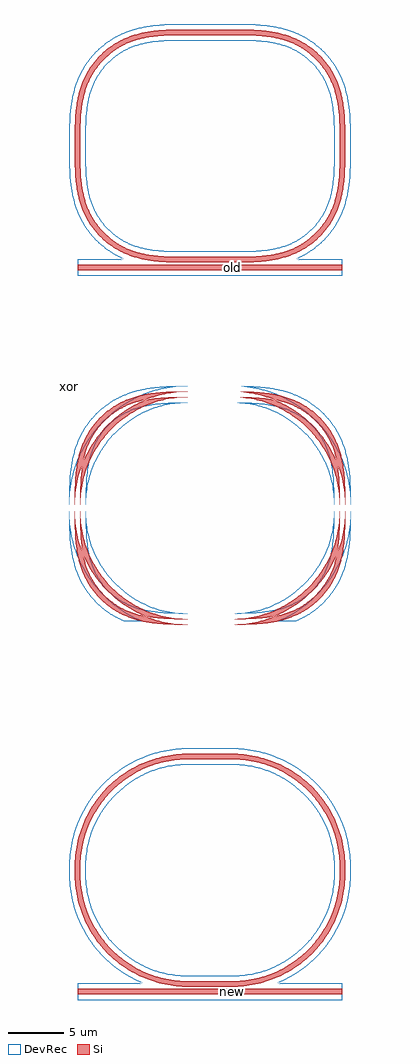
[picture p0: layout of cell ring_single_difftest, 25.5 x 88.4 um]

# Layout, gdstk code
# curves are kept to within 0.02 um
from math import pi, radians
import gdstk
lib = gdstk.Library(unit=1e-6, precision=1e-09)
def R(c, l, rs):  # rectangles x0, y0, x1, y1
    for r in rs: c.add(gdstk.rectangle(r[:2], r[2:], *l))
def P(c, l, *ps):  # polygons
    for p in ps: c.add(gdstk.Polygon(p, *l))
Si = (1, 0)
DevRec = (68, 0)

bend_euler_r10_a90_p0p5_ = lib.new_cell('bend_euler_R10_A90_P0p5_17151b03')
P(bend_euler_r10_a90_p0p5_, Si, [(0,-0.25),(0,0.25),(1.655,0.269),(2.881,0.353),(3.952,0.52),(4.99,0.806),(5.731,1.113),(6.431,1.505),(7.079,1.976),(7.575,2.425),(8.024,2.921),(8.495,3.569),(8.887,4.269),(9.194,5.01),(9.48,6.048),(9.647,7.119),(9.731,8.345),(9.75,10),(10.25,10),(10.235,8.468),(10.158,7.205),(10.023,6.224),(9.797,5.254),(9.457,4.312),(9.066,3.545),(8.5,2.715),(7.928,2.072),(7.285,1.5),(6.455,0.934),(5.688,0.543),(4.746,0.203),(3.776,-0.023),(2.795,-0.158),(1.532,-0.235)])
P(bend_euler_r10_a90_p0p5_, DevRec, [(0,-0.75),(0,0.75),(1.637,0.769),(2.697,0.837),(3.724,0.984),(4.466,1.163),(5.288,1.459),(5.95,1.797),(6.666,2.285),(7.221,2.779),(7.715,3.334),(8.203,4.05),(8.541,4.712),(8.837,5.534),(9.016,6.276),(9.163,7.303),(9.231,8.363),(9.25,10),(10.75,10),(10.735,8.453),(10.656,7.156),(10.488,5.989),(10.277,5.114),(9.915,4.111),(9.497,3.292),(8.893,2.406),(8.282,1.718),(7.594,1.107),(6.708,0.503),(5.889,0.085),(4.886,-0.277),(4.011,-0.488),(2.844,-0.656),(1.547,-0.735)])

coupler_ring_lx4_g0p2_r_ = lib.new_cell('coupler_ring_LX4_G0p2_R_bc79a2ed')
R(coupler_ring_lx4_g0p2_r_, Si, [(-14,-0.25,10,0.25)])
P(coupler_ring_lx4_g0p2_r_, Si, [(-4.416,0.45),(-5.812,0.475),(-6.935,0.556),(-7.915,0.703),(-8.883,0.944),(-9.819,1.302),(-10.579,1.708),(-11.397,2.29),(-12.029,2.874),(-12.588,3.529),(-13.137,4.369),(-13.567,5.277),(-13.836,6.091),(-14.048,7.064),(-14.171,8.046),(-14.235,9.168),(-14.25,10.7),(-13.75,10.7),(-13.731,9.045),(-13.647,7.819),(-13.48,6.748),(-13.194,5.71),(-12.887,4.969),(-12.495,4.269),(-12.024,3.621),(-11.575,3.125),(-10.869,2.511),(-10.203,2.065),(-9.488,1.701),(-8.735,1.422),(-7.952,1.22),(-6.881,1.053),(-5.655,0.969),(-4.415,0.95),(1.243,0.958),(2.202,0.996),(3.016,1.069),(4.084,1.249),(4.99,1.506),(5.731,1.813),(6.543,2.278),(7.283,2.85),(7.938,3.518),(8.495,4.269),(8.765,4.731),(8.999,5.212),(9.353,6.223),(9.596,7.415),(9.719,8.772),(9.75,10.7),(10.25,10.7),(10.225,8.888),(10.128,7.625),(9.939,6.506),(9.618,5.411),(9.398,4.881),(9.137,4.369),(8.837,3.88),(8.5,3.415),(7.826,2.671),(7.397,2.29),(6.939,1.944),(6.078,1.427),(5.289,1.082),(4.332,0.793),(3.216,0.59),(2.373,0.506),(1.253,0.458)])
P(coupler_ring_lx4_g0p2_r_, DevRec, [(-14,-0.75),(-14,0.75),(-9.807,0.75),(-10.441,1.053),(-10.97,1.363),(-11.594,1.807),(-12.061,2.206),(-12.494,2.639),(-12.986,3.227),(-13.419,3.86),(-13.718,4.395),(-13.975,4.952),(-14.233,5.669),(-14.393,6.251),(-14.541,6.981),(-14.641,7.711),(-14.711,8.58),(-14.75,10.7),(-13.25,10.7),(-13.231,9.063),(-13.163,8.003),(-13.016,6.976),(-12.8,6.113),(-12.49,5.299),(-12.074,4.539),(-11.557,3.843),(-10.951,3.224),(-10.367,2.764),(-9.734,2.376),(-9.059,2.065),(-8.344,1.829),(-7.598,1.661),(-6.697,1.537),(-5.771,1.474),(-4.414,1.45),(0.825,1.452),(1.904,1.48),(2.697,1.537),(3.724,1.684),(4.466,1.863),(5.288,2.159),(6.056,2.56),(6.568,2.91),(6.951,3.224),(7.637,3.938),(8.203,4.75),(8.635,5.641),(8.934,6.601),(9.135,7.743),(9.226,8.929),(9.25,10.7),(10.75,10.7),(10.711,8.58),(10.641,7.711),(10.541,6.981),(10.393,6.251),(10.233,5.669),(9.975,4.952),(9.718,4.395),(9.419,3.86),(8.986,3.227),(8.494,2.639),(8.061,2.206),(7.594,1.807),(6.97,1.363),(6.441,1.053),(5.807,0.75),(10,0.75),(10,-0.75)])

straight_l0p6_csstrip_wn = lib.new_cell('straight_L0p6_CSstrip_WNone_N2$1')
R(straight_l0p6_csstrip_wn, Si, [(0,-0.25,0.6,0.25)])
R(straight_l0p6_csstrip_wn, DevRec, [(0,-0.75,0.6,0.75)])

straight_l4_csstrip_wnon = lib.new_cell('straight_L4_CSstrip_WNone_N2$1')
R(straight_l4_csstrip_wnon, Si, [(0,-0.25,4,0.25)])
R(straight_l4_csstrip_wnon, DevRec, [(0,-0.75,4,0.75)])

ring_single_old = lib.new_cell('ring_single_old')
ring_single_old.add(gdstk.Reference(bend_euler_r10_a90_p0p5_, (10,11.3), rotation=pi/2))
ring_single_old.add(gdstk.Reference(bend_euler_r10_a90_p0p5_, (-4,21.3), rotation=pi))
ring_single_old.add(gdstk.Reference(coupler_ring_lx4_g0p2_r_, (0,0)))
ring_single_old.add(gdstk.Reference(straight_l0p6_csstrip_wn, (-14,10.7), rotation=pi/2))
ring_single_old.add(gdstk.Reference(straight_l0p6_csstrip_wn, (10,11.3), rotation=3*pi/2))
ring_single_old.add(gdstk.Reference(straight_l4_csstrip_wnon, (0,21.3), rotation=pi))

bend_euler_r10_a90_p0_wn = lib.new_cell('bend_euler_R10_A90_P0_WNone_CSstrip_AMRVFalse$1')
P(bend_euler_r10_a90_p0_wn, Si, [(0,-0.25),(0,0.25),(1.003,0.302),(1.994,0.456),(3.203,0.791),(4.133,1.169),(5.019,1.641),(5.649,2.053),(6.246,2.513),(6.805,3.018),(7.487,3.754),(7.947,4.351),(8.359,4.981),(8.721,5.641),(9.209,6.797),(9.489,7.761),(9.669,8.748),(9.75,10),(10.25,10),(10.196,8.946),(10.084,8.162),(9.842,7.135),(9.495,6.139),(9.169,5.417),(8.649,4.499),(8.037,3.639),(7.341,2.846),(6.566,2.129),(5.722,1.496),(4.817,0.953),(3.861,0.505),(2.865,0.158),(1.838,-0.084),(1.054,-0.196)])
P(bend_euler_r10_a90_p0_wn, DevRec, [(0,-0.75),(0,0.75),(0.951,0.799),(1.658,0.9),(2.585,1.119),(3.485,1.432),(4.136,1.726),(4.964,2.195),(5.741,2.747),(6.456,3.376),(6.948,3.894),(7.539,4.64),(8.05,5.444),(8.476,6.296),(8.812,7.187),(9.054,8.108),(9.201,9.049),(9.25,10),(10.75,10),(10.693,8.895),(10.523,7.801),(10.322,6.996),(9.958,5.95),(9.616,5.194),(9.071,4.23),(8.429,3.328),(7.699,2.497),(6.886,1.745),(6.001,1.081),(5.052,0.511),(4.05,0.042),(3.004,-0.322),(2.199,-0.523),(1.105,-0.693)])

coupler_ring_lx4_g0p2_r1 = lib.new_cell('coupler_ring_LX4_G0p2_R10_Bbend_euler_R10_A90_P0_WNone__88a3ef29')
R(coupler_ring_lx4_g0p2_r1, Si, [(-14,-0.25,10,0.25)])
P(coupler_ring_lx4_g0p2_r1, Si, [(-4,0.45),(-5.054,0.504),(-5.838,0.616),(-6.865,0.858),(-7.861,1.205),(-8.583,1.531),(-9.501,2.051),(-10.361,2.663),(-11.154,3.359),(-11.871,4.134),(-12.504,4.978),(-13.047,5.883),(-13.495,6.839),(-13.842,7.835),(-14.084,8.862),(-14.196,9.646),(-14.25,10.7),(-13.75,10.7),(-13.669,9.448),(-13.489,8.461),(-13.209,7.497),(-12.721,6.341),(-12.359,5.681),(-11.947,5.051),(-11.487,4.454),(-10.805,3.718),(-10.051,3.055),(-9.233,2.473),(-8.582,2.094),(-7.673,1.668),(-6.965,1.412),(-5.994,1.156),(-5.003,1.002),(-4,0.95),(0.251,0.953),(1.003,1.002),(1.748,1.108),(2.725,1.339),(3.673,1.668),(4.582,2.094),(5.443,2.611),(6.246,3.213),(7.155,4.077),(7.798,4.848),(8.359,5.681),(8.721,6.341),(9.032,7.027),(9.429,8.217),(9.669,9.448),(9.75,10.7),(10.25,10.7),(10.196,9.646),(10.084,8.862),(9.976,8.346),(9.681,7.332),(9.495,6.839),(9.169,6.117),(8.787,5.423),(8.504,4.978),(7.699,3.933),(7.341,3.546),(6.767,3.001),(5.939,2.346),(5.049,1.78),(4.583,1.531),(3.861,1.205),(2.865,0.858),(1.838,0.616),(1.054,0.504),(0.264,0.453)])
P(coupler_ring_lx4_g0p2_r1, DevRec, [(-14,-0.75),(-14,0.75),(-8.069,0.75),(-8.806,1.084),(-9.534,1.484),(-10.229,1.938),(-10.886,2.445),(-11.503,3.001),(-12.075,3.603),(-12.429,4.028),(-12.919,4.699),(-13.356,5.405),(-13.736,6.143),(-14.059,6.908),(-14.322,7.696),(-14.463,8.231),(-14.622,9.046),(-14.718,9.87),(-14.75,10.7),(-13.25,10.7),(-13.201,9.749),(-13.003,8.575),(-12.736,7.661),(-12.378,6.779),(-11.93,5.938),(-11.398,5.148),(-10.788,4.417),(-10.106,3.752),(-9.36,3.161),(-8.762,2.77),(-7.921,2.322),(-7.263,2.045),(-6.356,1.755),(-5.658,1.6),(-4.951,1.499),(-4,1.45),(0.238,1.453),(1.423,1.56),(2.356,1.755),(3.263,2.045),(4.136,2.426),(4.964,2.895),(5.925,3.597),(6.788,4.417),(7.539,5.34),(8.165,6.353),(8.655,7.437),(9.003,8.575),(9.201,9.749),(9.25,10.7),(10.75,10.7),(10.718,9.87),(10.622,9.046),(10.523,8.501),(10.322,7.696),(10.059,6.908),(9.736,6.143),(9.356,5.405),(8.919,4.699),(8.429,4.028),(8.075,3.603),(7.503,3.001),(6.886,2.445),(6.229,1.938),(5.534,1.484),(4.806,1.084),(4.069,0.75),(10,0.75),(10,-0.75)])

c_straight_l4_csstrip_wnon = lib.new_cell('straight_L4_CSstrip_WNone_N2$2')
R(c_straight_l4_csstrip_wnon, Si, [(0,-0.25,4,0.25)])
R(c_straight_l4_csstrip_wnon, DevRec, [(0,-0.75,4,0.75)])

c_straight_l0p6_csstrip_wn = lib.new_cell('straight_L0p6_CSstrip_WNone_N2$2')
R(c_straight_l0p6_csstrip_wn, Si, [(0,-0.25,0.6,0.25)])
R(c_straight_l0p6_csstrip_wn, DevRec, [(0,-0.75,0.6,0.75)])

ring_single_new = lib.new_cell('ring_single_new')
ring_single_new.add(gdstk.Reference(bend_euler_r10_a90_p0_wn, (10,11.3), rotation=pi/2))
ring_single_new.add(gdstk.Reference(bend_euler_r10_a90_p0_wn, (-4,21.3), rotation=pi))
ring_single_new.add(gdstk.Reference(coupler_ring_lx4_g0p2_r1, (0,0)))
ring_single_new.add(gdstk.Reference(c_straight_l4_csstrip_wnon, (0,21.3), rotation=pi))
ring_single_new.add(gdstk.Reference(c_straight_l0p6_csstrip_wn, (-14,10.7), rotation=pi/2))
ring_single_new.add(gdstk.Reference(c_straight_l0p6_csstrip_wn, (10,11.3), rotation=3*pi/2))

ring_single_xor = lib.new_cell('ring_single_xor')
P(ring_single_xor, Si, [(-4.416,0.45),(-5.812,0.475),(-6.935,0.556),(-7.915,0.703),(-8.883,0.944),(-9.819,1.302),(-10.579,1.708),(-11.397,2.29),(-12.029,2.874),(-12.5,3.415),(-12.992,4.121),(-13.337,4.751),(-13.618,5.411),(-13.836,6.091),(-14.01,6.854),(-13.501,6.854),(-13.237,5.837),(-13.051,5.335),(-12.827,4.849),(-12.566,4.383),(-12.269,3.938),(-11.938,3.518),(-11.575,3.125),(-11.182,2.762),(-10.762,2.431),(-10.317,2.134),(-9.851,1.873),(-9.365,1.649),(-8.863,1.463),(-7.846,1.199),(-8.583,1.531),(-9.501,2.051),(-10.361,2.663),(-10.963,3.178),(-11.699,3.933),(-12.504,4.978),(-13.047,5.883),(-13.501,6.854),(-14.01,6.854),(-14.128,7.625),(-14.203,8.467),(-14.25,10.7),(-14.196,9.646),(-14.084,8.862),(-13.842,7.835),(-13.501,6.854),(-13.631,7.684),(-13.704,8.498),(-13.75,10.7),(-13.698,9.697),(-13.544,8.706),(-13.288,7.735),(-13.032,7.027),(-12.606,6.118),(-12.227,5.467),(-11.645,4.649),(-10.982,3.895),(-10.246,3.213),(-9.443,2.611),(-8.582,2.094),(-7.673,1.668),(-6.965,1.412),(-5.994,1.156),(-5.003,1.002),(-4,0.95),(-6.202,0.996),(-7.016,1.069),(-7.846,1.199),(-6.865,0.858),(-6.097,0.667),(-5.054,0.504),(-4,0.45)],
  [(0,0.45),(1.054,0.504),(1.838,0.616),(2.865,0.858),(3.846,1.199),(3.016,1.069),(2.202,0.996),(0,0.95),(0.752,0.979),(1.5,1.066),(2.239,1.211),(2.965,1.412),(4.133,1.869),(4.802,2.215),(5.443,2.611),(6.436,3.376),(6.982,3.895),(7.487,4.454),(7.947,5.051),(8.359,5.681),(8.721,6.341),(8.959,6.854),(9.501,6.854),(9.283,6.355),(8.92,5.651),(8.504,4.978),(8.037,4.339),(7.522,3.737),(6.767,3.001),(5.722,2.196),(4.817,1.653),(3.846,1.199),(4.863,1.463),(5.365,1.649),(5.851,1.873),(6.317,2.134),(6.762,2.431),(7.182,2.762),(7.575,3.125),(8.024,3.621),(8.495,4.269),(8.887,4.969),(9.194,5.71),(9.353,6.223),(9.501,6.854),(8.959,6.854),(9.288,7.735),(9.544,8.706),(9.698,9.697),(9.75,10.7),(9.704,8.498),(9.631,7.684),(9.501,6.854),(9.842,7.835),(10.084,8.862),(10.196,9.646),(10.25,10.7),(10.235,9.168),(10.158,7.905),(10.023,6.924),(9.797,5.954),(9.457,5.012),(9.066,4.245),(8.5,3.415),(7.928,2.772),(7.285,2.2),(6.455,1.634),(5.688,1.243),(4.746,0.903),(3.776,0.677),(2.795,0.542),(1.532,0.465)],
  [(-14.25,11.3),(-14.235,12.832),(-14.158,14.095),(-14.023,15.076),(-13.797,16.046),(-13.457,16.988),(-13.066,17.755),(-12.5,18.585),(-11.928,19.228),(-11.397,19.71),(-10.82,20.137),(-10.205,20.506),(-9.584,20.801),(-7.846,20.801),(-8.863,20.537),(-9.365,20.351),(-9.851,20.127),(-10.317,19.866),(-10.762,19.569),(-11.182,19.238),(-11.575,18.875),(-11.938,18.482),(-12.269,18.062),(-12.566,17.617),(-12.827,17.151),(-13.051,16.665),(-13.237,16.163),(-13.501,15.146),(-13.169,15.883),(-12.649,16.801),(-12.037,17.661),(-11.341,18.454),(-10.566,19.171),(-9.722,19.804),(-8.817,20.347),(-7.846,20.801),(-9.584,20.801),(-9.019,21.012),(-8.471,21.172),(-7.216,21.41),(-5.953,21.519),(-4,21.55),(-5.054,21.496),(-5.838,21.384),(-6.865,21.142),(-7.846,20.801),(-7.016,20.931),(-6.202,21.004),(-4,21.05),(-5.003,20.998),(-5.994,20.844),(-6.965,20.588),(-7.673,20.332),(-8.582,19.906),(-9.233,19.527),(-10.051,18.945),(-10.805,18.282),(-11.487,17.546),(-12.089,16.743),(-12.606,15.882),(-13.032,14.973),(-13.288,14.265),(-13.544,13.294),(-13.698,12.303),(-13.75,11.3),(-13.704,13.502),(-13.631,14.316),(-13.501,15.146),(-13.842,14.165),(-14.084,13.138),(-14.196,12.354)],
  [(9.75,11.3),(9.721,12.052),(9.634,12.8),(9.429,13.783),(9.209,14.503),(8.934,15.204),(8.606,15.882),(8.227,16.533),(7.645,17.351),(7.155,17.923),(6.436,18.624),(5.852,19.098),(5.233,19.527),(4.582,19.906),(3.673,20.332),(2.965,20.588),(2.186,20.801),(3.846,20.801),(4.583,20.469),(5.049,20.22),(5.722,19.804),(6.361,19.337),(6.767,18.999),(7.341,18.454),(7.871,17.866),(8.198,17.452),(8.649,16.801),(8.92,16.349),(9.169,15.883),(9.501,15.146),(9.237,16.163),(9.051,16.665),(8.827,17.151),(8.566,17.617),(8.269,18.062),(7.668,18.779),(7.182,19.238),(6.543,19.722),(5.851,20.127),(5.116,20.449),(4.477,20.653),(3.846,20.801),(2.186,20.801),(1.003,20.998),(0,21.05),(2.202,21.004),(3.016,20.931),(3.846,20.801),(2.865,21.142),(1.838,21.384),(1.054,21.496),(0,21.55),(1.812,21.525),(2.935,21.444),(3.915,21.297),(4.883,21.056),(5.819,20.698),(6.579,20.292),(7.397,19.71),(8.029,19.126),(8.673,18.356),(8.992,17.879),(9.273,17.378),(9.666,16.455),(9.939,15.494),(10.091,14.656),(10.194,13.673),(10.239,12.692),(10.25,11.3),(10.196,12.354),(10.084,13.138),(9.842,14.165),(9.501,15.146),(9.631,14.316),(9.704,13.502)])
P(ring_single_xor, DevRec, [(-9.807,0.75),(-10.441,1.053),(-10.97,1.363),(-11.594,1.807),(-12.061,2.206),(-12.494,2.639),(-12.986,3.227),(-13.419,3.86),(-13.718,4.395),(-13.975,4.952),(-14.233,5.669),(-14.393,6.251),(-14.541,6.981),(-14.641,7.711),(-14.711,8.58),(-14.75,10.7),(-14.718,9.87),(-14.622,9.046),(-14.523,8.501),(-14.322,7.696),(-14.059,6.908),(-13.736,6.143),(-13.356,5.405),(-12.919,4.699),(-12.429,4.028),(-12.075,3.603),(-11.503,3.001),(-10.886,2.445),(-10.229,1.938),(-9.534,1.484),(-8.806,1.084),(-8.069,0.75)],
  [(-4.414,1.45),(-5.904,1.48),(-6.957,1.565),(-7.724,1.684),(-8.587,1.9),(-9.288,2.159),(-10.056,2.56),(-10.666,2.985),(-11.308,3.567),(-11.79,4.132),(-12.265,4.858),(-12.589,5.526),(-12.871,6.356),(-13.061,7.229),(-13.175,8.134),(-13.239,9.332),(-13.25,10.7),(-13.201,9.749),(-13.1,9.042),(-12.881,8.115),(-12.568,7.215),(-12.274,6.564),(-11.805,5.736),(-11.253,4.959),(-10.624,4.244),(-10.106,3.752),(-9.36,3.161),(-8.556,2.65),(-7.704,2.224),(-6.813,1.888),(-6.125,1.697),(-4.951,1.499),(-4,1.45)],
  [(0,1.45),(0.951,1.499),(1.658,1.6),(2.585,1.819),(3.485,2.132),(4.136,2.426),(4.964,2.895),(5.741,3.447),(6.456,4.076),(6.948,4.594),(7.539,5.34),(8.05,6.144),(8.476,6.996),(8.812,7.887),(9.054,8.808),(9.201,9.749),(9.25,10.7),(9.231,9.063),(9.163,8.003),(9.016,6.976),(8.837,6.234),(8.541,5.412),(8.203,4.75),(7.715,4.034),(7.221,3.479),(6.666,2.985),(5.95,2.497),(5.288,2.159),(4.466,1.863),(3.724,1.684),(2.697,1.537),(1.637,1.469)],
  [(4.069,0.75),(4.806,1.084),(5.534,1.484),(6.229,1.938),(6.886,2.445),(7.503,3.001),(8.075,3.603),(8.429,4.028),(8.919,4.699),(9.356,5.405),(9.736,6.143),(10.059,6.908),(10.322,7.696),(10.463,8.231),(10.622,9.046),(10.718,9.87),(10.75,10.7),(10.735,9.153),(10.682,8.146),(10.586,7.274),(10.458,6.543),(10.233,5.669),(9.975,4.952),(9.647,4.259),(9.253,3.602),(8.698,2.869),(8.061,2.206),(7.35,1.622),(6.575,1.126),(5.807,0.75)],
  [(-13.25,11.3),(-13.231,12.937),(-13.163,13.997),(-13.016,15.024),(-12.837,15.766),(-12.541,16.588),(-12.203,17.25),(-11.715,17.966),(-11.221,18.521),(-10.666,19.015),(-9.95,19.503),(-9.288,19.841),(-8.466,20.137),(-7.724,20.316),(-6.697,20.463),(-5.637,20.531),(-4,20.55),(-4.951,20.501),(-5.658,20.4),(-6.585,20.181),(-7.485,19.868),(-8.136,19.574),(-8.964,19.105),(-9.741,18.553),(-10.456,17.924),(-10.948,17.406),(-11.539,16.66),(-12.05,15.856),(-12.476,15.004),(-12.812,14.113),(-13.054,13.192),(-13.201,12.251)],
  [(9.25,11.3),(9.201,12.251),(9.1,12.958),(8.881,13.885),(8.568,14.785),(8.274,15.436),(7.805,16.264),(7.253,17.041),(6.624,17.756),(6.106,18.248),(5.36,18.839),(4.556,19.35),(3.704,19.776),(2.813,20.112),(1.892,20.354),(0.951,20.501),(0,20.55),(1.637,20.531),(2.697,20.463),(3.724,20.316),(4.466,20.137),(5.288,19.841),(5.95,19.503),(6.666,19.015),(7.221,18.521),(7.715,17.966),(8.203,17.25),(8.541,16.588),(8.837,15.766),(9.016,15.024),(9.163,13.997),(9.231,12.937)],
  [(-14.75,11.3),(-14.735,12.847),(-14.656,14.144),(-14.488,15.311),(-14.277,16.186),(-13.915,17.189),(-13.497,18.008),(-12.893,18.894),(-12.282,19.582),(-11.594,20.193),(-10.708,20.797),(-9.889,21.215),(-8.886,21.577),(-8.011,21.788),(-6.844,21.956),(-5.547,22.035),(-4,22.05),(-5.105,21.993),(-6.199,21.823),(-7.004,21.622),(-8.05,21.258),(-8.806,20.916),(-9.77,20.371),(-10.672,19.729),(-11.503,18.999),(-12.255,18.186),(-12.919,17.301),(-13.489,16.352),(-13.958,15.35),(-14.322,14.304),(-14.523,13.499),(-14.693,12.405)],
  [(10.75,11.3),(10.693,12.405),(10.523,13.499),(10.322,14.304),(9.958,15.35),(9.616,16.106),(9.071,17.07),(8.429,17.972),(7.699,18.803),(6.886,19.555),(6.001,20.219),(5.052,20.789),(4.05,21.258),(3.004,21.622),(2.199,21.823),(1.105,21.993),(0,22.05),(1.547,22.035),(2.844,21.956),(4.011,21.788),(4.886,21.577),(5.889,21.215),(6.708,20.797),(7.594,20.193),(8.282,19.582),(8.893,18.894),(9.497,18.008),(9.915,17.189),(10.277,16.186),(10.488,15.311),(10.656,14.144),(10.735,12.847)])

ring_single_difftest = lib.new_cell('ring_single_difftest')
ring_single_difftest.add(gdstk.Reference(ring_single_old, (0,32.8)))
ring_single_difftest.add(gdstk.Reference(ring_single_new, (0,-32.8)))
ring_single_difftest.add(gdstk.Reference(ring_single_xor, (0,0)))
ring_single_difftest.add(gdstk.Label('old', (0,32.8), layer=1, texttype=0))
ring_single_difftest.add(gdstk.Label('new', (0,-32.8), layer=1, texttype=0))
ring_single_difftest.add(gdstk.Label('xor', (-14.75,22.05), layer=1, texttype=0))

lib.write_gds('ring_single_difftest.gds')
